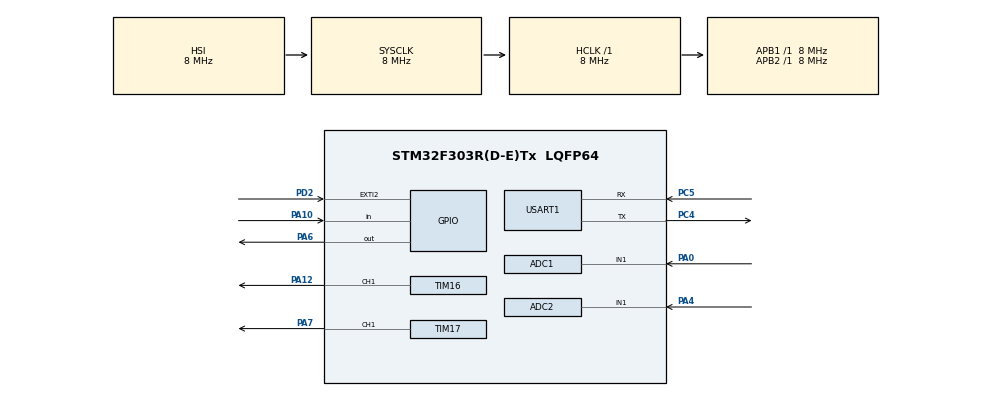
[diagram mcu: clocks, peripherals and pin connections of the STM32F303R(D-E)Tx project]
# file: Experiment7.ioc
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ADC1.Channel-0\#ChannelRegularConversion=ADC_CHANNEL_1
ADC1.ExternalTrigConv=ADC_EXTERNALTRIGCONV_T1_TRGO
ADC1.NbrOfConversionFlag=1
ADC1.Offset-0\#ChannelRegularConversion=0
ADC1.OffsetNumber-0\#ChannelRegularConversion=ADC_OFFSET_NONE
ADC1.Rank-0\#ChannelRegularConversion=1
ADC1.SamplingTime-0\#ChannelRegularConversion=ADC_SAMPLETIME_1CYCLE_5
ADC1.master=1
ADC2.Channel-0\#ChannelRegularConversion=ADC_CHANNEL_1
ADC2.ExternalTrigConv=ADC_EXTERNALTRIGCONV_T8_TRGO
ADC2.NbrOfConversionFlag=1
ADC2.Offset-0\#ChannelRegularConversion=0
ADC2.OffsetNumber-0\#ChannelRegularConversion=ADC_OFFSET_NONE
ADC2.Rank-0\#ChannelRegularConversion=1
ADC2.SamplingTime-0\#ChannelRegularConversion=ADC_SAMPLETIME_1CYCLE_5
Mcu.Family=STM32F3
Mcu.Name=STM32F303R(D-E)Tx
Mcu.Package=LQFP64
NVIC.ADC1_2_IRQn=true\:0\:0\:false\:false\:true\:true
NVIC.PriorityGroup=NVIC_PRIORITYGROUP_4
NVIC.USART1_IRQn=true\:0\:0\:false\:false\:true\:true
PA0.Mode=IN1-Single-Ended
PA0.Signal=ADC1_IN1
PA10.Signal=GPIO_Input
PA12.Signal=S_TIM16_CH1
PA4.Mode=IN1-Single-Ended
PA4.Signal=ADC2_IN1
PA6.Signal=GPIO_Output
PA7.Signal=S_TIM17_CH1
PC4.Mode=Asynchronous
PC4.Signal=USART1_TX
PC5.Mode=Asynchronous
PC5.Signal=USART1_RX
PD2.Signal=GPXTI2
PF0-OSC_IN.Mode=HSE-External-Oscillator
PF0-OSC_IN.Signal=RCC_OSC_IN
PF1-OSC_OUT.Mode=HSE-External-Oscillator
PF1-OSC_OUT.Signal=RCC_OSC_OUT
ProjectManager.HeapSize=0x200
ProjectManager.StackSize=0x400
ProjectManager.TargetToolchain=MDK-ARM V5
RCC.AHBFreq_Value=8000000
RCC.APB1Freq_Value=8000000
RCC.APB2Freq_Value=8000000
RCC.CortexFreq_Value=8000000
RCC.HSE_VALUE=8000000
RCC.HSI_VALUE=8000000
RCC.LSE_VALUE=32768
RCC.SYSCLKFreq_VALUE=8000000
RCC.USBFreq_Value=16000000
SH.S_TIM16_CH1.0=TIM16_CH1,PWM Generation1 CH1
SH.S_TIM17_CH1.0=TIM17_CH1,PWM Generation1 CH1
TIM1.Period=200
TIM1.Prescaler=79
TIM1.TIM_MasterOutputTrigger=TIM_TRGO_UPDATE
TIM16.Channel=TIM_CHANNEL_1
TIM16.Period=99
TIM16.Prescaler=1
TIM17.Channel=TIM_CHANNEL_1
TIM17.Period=99
TIM17.Prescaler=1
TIM8.Period=200
TIM8.Prescaler=79
TIM8.TIM_MasterOutputTrigger=TIM_TRGO_UPDATE
USART1.VirtualMode-Asynchronous=VM_ASYNC
VP_TIM16_VS_ClockSourceINT.Mode=Enable_Timer
VP_TIM17_VS_ClockSourceINT.Mode=Enable_Timer
VP_TIM1_VS_ClockSourceINT.Mode=Internal
VP_TIM8_VS_ClockSourceINT.Mode=Internal
board=custom

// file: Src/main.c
/* USER CODE BEGIN Header */
/**
  ******************************************************************************
  * @file           : main.c
  * @brief          : Main program body
  ******************************************************************************
  ** This notice applies to any and all portions of this file
  * that are not between comment pairs USER CODE BEGIN and
  * USER CODE END. Other portions of this file, whether
  * inserted by the user or by software development tools
  * are owned by their respective copyright owners.
  *
  * COPYRIGHT(c) 2019 STMicroelectronics
  *
  * Redistribution and use in source and binary forms, with or without modification,
  * are permitted provided that the following conditions are met:
  *   1. Redistributions of source code must retain the above copyright notice,
  *      this list of conditions and the following disclaimer.
  *   2. Redistributions in binary form must reproduce the above copyright notice,
  *      this list of conditions and the following disclaimer in the documentation
  *      and/or other materials provided with the distribution.
  *   3. Neither the name of STMicroelectronics nor the names of its contributors
  *      may be used to endorse or promote products derived from this software
  *      without specific prior written permission.
  *
  * THIS SOFTWARE IS PROVIDED BY THE COPYRIGHT HOLDERS AND CONTRIBUTORS "AS IS"
  * AND ANY EXPRESS OR IMPLIED WARRANTIES, INCLUDING, BUT NOT LIMITED TO, THE
  * IMPLIED WARRANTIES OF MERCHANTABILITY AND FITNESS FOR A PARTICULAR PURPOSE ARE
  * DISCLAIMED. IN NO EVENT SHALL THE COPYRIGHT HOLDER OR CONTRIBUTORS BE LIABLE
  * FOR ANY DIRECT, INDIRECT, INCIDENTAL, SPECIAL, EXEMPLARY, OR CONSEQUENTIAL
  * DAMAGES (INCLUDING, BUT NOT LIMITED TO, PROCUREMENT OF SUBSTITUTE GOODS OR
  * SERVICES; LOSS OF USE, DATA, OR PROFITS; OR BUSINESS INTERRUPTION) HOWEVER
  * CAUSED AND ON ANY THEORY OF LIABILITY, WHETHER IN CONTRACT, STRICT LIABILITY,
  * OR TORT (INCLUDING NEGLIGENCE OR OTHERWISE) ARISING IN ANY WAY OUT OF THE USE
  * OF THIS SOFTWARE, EVEN IF ADVISED OF THE POSSIBILITY OF SUCH DAMAGE.
  *
  ******************************************************************************
  */
/* USER CODE END Header */

#include "main.h"

ADC_HandleTypeDef hadc1;
ADC_HandleTypeDef hadc2;

TIM_HandleTypeDef htim1;
TIM_HandleTypeDef htim8;
TIM_HandleTypeDef htim16;
TIM_HandleTypeDef htim17;

UART_HandleTypeDef huart1;

void SystemClock_Config(void);
static void MX_GPIO_Init(void);
static void MX_TIM1_Init(void);
static void MX_ADC1_Init(void);
static void MX_ADC2_Init(void);
static void MX_TIM8_Init(void);
static void MX_TIM17_Init(void);
static void MX_USART1_UART_Init(void);
static void MX_TIM16_Init(void);

/* USER CODE BEGIN 0 */

uint32_t adc_output;
float volt;
float volt1;
double temp;
uint32_t adc_output1;
uint32_t period ;

double  dutycycle = 0.5;
double dutycycle1 = 0.5;

int v1;
int v2;

double f1;
double f2;

char rx_buffer[10];
char tx_buffer[50];

void decrease_tmp()
{
	if (dutycycle==0)
		return;
	else
	{
		dutycycle = dutycycle - 0.1;
	}
}

void increase_tmp()
{
	if (dutycycle==1)
		return;
	else
	{
		dutycycle = dutycycle + 0.1;
	}
}

/*void HAL_UART_RxCpltCallback(UART_HandleTypeDef *huart)
{
	if (huart->Instance == USART1)
	{
	 HAL_UART_Receive(&huart1,(uint8_t*)rx_buffer,10,100);
	 printf("%c",rx_buffer[0]);
	}
}*/

void HAL_ADC_ConvCpltCallback(ADC_HandleTypeDef* hadc)
 {
	 if(hadc->Instance == ADC1)
		 {
		 HAL_ADC_PollForConversion(&hadc1,100);
		 adc_output=HAL_ADC_GetValue(&hadc1);
		 volt = (adc_output*5)*0.00244;
		 v1 = (int) adc_output/7;
		 //strcat(tx_buffer,str_inten);
		 }
}

 void HAL_ADC_ConvCpltCallback1(ADC_HandleTypeDef* hadc)
 {
	  if(hadc->Instance == ADC2)
		 {
     HAL_ADC_PollForConversion(&hadc2,100);
		 adc_output1=HAL_ADC_GetValue(&hadc2);
		 temp = (adc_output1*5)*0.0244;
		 v2 = (int)temp;
	   HAL_UART_Transmit(&huart1,(uint8_t*)tx_buffer,sprintf(tx_buffer,"temperature\r"),500);
		 HAL_UART_Transmit(&huart1,(uint8_t*)tx_buffer,sprintf(tx_buffer,"%d",v2),500); //sending temperature
		 HAL_UART_Transmit(&huart1,(uint8_t*)tx_buffer,sprintf(tx_buffer,"\n\r"),500); //sending temperature
		 HAL_UART_Transmit(&huart1,(uint8_t*)tx_buffer,sprintf(tx_buffer,"brightness\r"),500);
		 HAL_UART_Transmit(&huart1,(uint8_t*)tx_buffer,sprintf(tx_buffer,"%d",v1),500); //sending voltage
		 HAL_UART_Transmit(&huart1,(uint8_t*)tx_buffer,sprintf(tx_buffer,"\n\r"),500);
		 //period = htim17.Init.Prescaler;
		 //TIM17->CCR1 = dutycycle*(period);
		 }
 }

/* USER CODE END 0 */

int main(void)
{

  /* MCU Configuration--------------------------------------------------------*/

  /* Reset of all peripherals, Initializes the Flash interface and the Systick. */
  HAL_Init();

  /* Configure the system clock */
  SystemClock_Config();

  /* Initialize all configured peripherals */
  MX_GPIO_Init();
  MX_TIM1_Init();
  MX_ADC1_Init();
  MX_ADC2_Init();
  MX_TIM8_Init();
  MX_TIM17_Init();
  MX_USART1_UART_Init();
  MX_TIM16_Init();

  /* Infinite loop */
  /* USER CODE BEGIN WHILE */
 	HAL_TIM_PWM_Start(&htim17,TIM_CHANNEL_1);
	HAL_TIM_PWM_Start(&htim16,TIM_CHANNEL_1);
	HAL_TIM_Base_Start_IT(&htim8);
	HAL_ADC_Start_IT(&hadc2);
	HAL_TIM_Base_Start(&htim1);
	HAL_ADC_Start_IT(&hadc1);
	__HAL_UART_ENABLE_IT(&huart1,UART_IT_TC);
  /* USER CODE BEGIN 2 */

  /* USER CODE END 2 */

  /* Infinite loop */
  /* USER CODE BEGIN WHILE */
  while (1)
  {
    /* USER CODE END WHILE */
	 HAL_ADC_ConvCpltCallback1(&hadc2);
	 HAL_ADC_ConvCpltCallback(&hadc1);

	 dutycycle = 1-((50-v2)*0.0333);
	 if (dutycycle>1)
		 dutycycle = 0.9;
   dutycycle1 = (100-v1)*0.01;

	 period = htim17.Init.Period+1;
	 TIM17->CCR1 = dutycycle*(period);

	if (dutycycle1<0)
		dutycycle1 = 0.1;

	 period = htim16.Init.Period+1;
	 TIM16->CCR1 = dutycycle1*(period);

	//HAL_UART_RxCpltCallback(&huart1);

	if (HAL_GPIO_ReadPin(GPIOA, GPIO_PIN_10)) // if the pin is HIGH , pir
  {
	 HAL_UART_Transmit(&huart1,(uint8_t*)"Person-Detected!\n\r",sprintf(tx_buffer,"Person-detected\r"),500);
   HAL_GPIO_WritePin (GPIOA, GPIO_PIN_6, 1); // turn on LED
	 HAL_Delay(500);
   HAL_GPIO_WritePin (GPIOA, GPIO_PIN_6, 0); // LED OFF
   //while (HAL_GPIO_ReadPin(GPIOA, GPIO_PIN_10)); //wait for pin to go low
  }
  /* USER CODE END 3 */
	//HAL_UART_Receive(&huart1,(uint8_t*)rx_buffer,10,100);
	//HAL_UART_Receive_IT(&huart1,(uint8_t*)rx_buffer,10);
	//HAL_Delay(400);

	if (HAL_UART_Receive(&huart1,(uint8_t*)rx_buffer,10,100) == HAL_OK)
	{
		 printf("%c",rx_buffer[0]);
		if (rx_buffer[0] == 'u')
		{
			increase_tmp();
		}
		else if (rx_buffer[0] == 'd')
		{
		  decrease_tmp();
		}

 }
}
	}

void SystemClock_Config(void)
{
  RCC_OscInitTypeDef RCC_OscInitStruct = {0};
  RCC_ClkInitTypeDef RCC_ClkInitStruct = {0};
  RCC_PeriphCLKInitTypeDef PeriphClkInit = {0};

  /**Initializes the CPU, AHB and APB busses clocks
  */
  RCC_OscInitStruct.OscillatorType = RCC_OSCILLATORTYPE_HSI;
  RCC_OscInitStruct.HSIState = RCC_HSI_ON;
  RCC_OscInitStruct.HSICalibrationValue = RCC_HSICALIBRATION_DEFAULT;
  RCC_OscInitStruct.PLL.PLLState = RCC_PLL_ON;
  RCC_OscInitStruct.PLL.PLLSource = RCC_PLLSOURCE_HSI;
  RCC_OscInitStruct.PLL.PLLMUL = RCC_PLL_MUL2;
  RCC_OscInitStruct.PLL.PREDIV = RCC_PREDIV_DIV1;
  if (HAL_RCC_OscConfig(&RCC_OscInitStruct) != HAL_OK)
  {
    Error_Handler();
  }
  /**Initializes the CPU, AHB and APB busses clocks
  */
  RCC_ClkInitStruct.ClockType = RCC_CLOCKTYPE_HCLK|RCC_CLOCKTYPE_SYSCLK
                              |RCC_CLOCKTYPE_PCLK1|RCC_CLOCKTYPE_PCLK2;
  RCC_ClkInitStruct.SYSCLKSource = RCC_SYSCLKSOURCE_HSI;
  RCC_ClkInitStruct.AHBCLKDivider = RCC_SYSCLK_DIV1;
  RCC_ClkInitStruct.APB1CLKDivider = RCC_HCLK_DIV1;
  RCC_ClkInitStruct.APB2CLKDivider = RCC_HCLK_DIV1;

  if (HAL_RCC_ClockConfig(&RCC_ClkInitStruct, FLASH_LATENCY_0) != HAL_OK)
  {
    Error_Handler();
  }
  PeriphClkInit.PeriphClockSelection = RCC_PERIPHCLK_USART1|RCC_PERIPHCLK_TIM1
                              |RCC_PERIPHCLK_TIM16|RCC_PERIPHCLK_TIM17
                              |RCC_PERIPHCLK_TIM8|RCC_PERIPHCLK_ADC12;
  PeriphClkInit.Usart1ClockSelection = RCC_USART1CLKSOURCE_PCLK2;
  PeriphClkInit.Adc12ClockSelection = RCC_ADC12PLLCLK_DIV1;
  PeriphClkInit.Tim1ClockSelection = RCC_TIM1CLK_HCLK;
  PeriphClkInit.Tim16ClockSelection = RCC_TIM16CLK_HCLK;
  PeriphClkInit.Tim17ClockSelection = RCC_TIM17CLK_HCLK;
  PeriphClkInit.Tim8ClockSelection = RCC_TIM8CLK_HCLK;
  if (HAL_RCCEx_PeriphCLKConfig(&PeriphClkInit) != HAL_OK)
  {
    Error_Handler();
  }
}

static void MX_ADC1_Init(void)
{

  ADC_MultiModeTypeDef multimode = {0};
  ADC_ChannelConfTypeDef sConfig = {0};

  /**Common config
  */
  hadc1.Instance = ADC1;
  hadc1.Init.ClockPrescaler = ADC_CLOCK_ASYNC_DIV1;
  hadc1.Init.Resolution = ADC_RESOLUTION_12B;
  hadc1.Init.ScanConvMode = ADC_SCAN_DISABLE;
  hadc1.Init.ContinuousConvMode = DISABLE;
  hadc1.Init.DiscontinuousConvMode = DISABLE;
  hadc1.Init.ExternalTrigConvEdge = ADC_EXTERNALTRIGCONVEDGE_RISING;
  hadc1.Init.ExternalTrigConv = ADC_EXTERNALTRIGCONV_T1_TRGO;
  hadc1.Init.DataAlign = ADC_DATAALIGN_RIGHT;
  hadc1.Init.NbrOfConversion = 1;
  hadc1.Init.DMAContinuousRequests = DISABLE;
  hadc1.Init.EOCSelection = ADC_EOC_SINGLE_CONV;
  hadc1.Init.LowPowerAutoWait = DISABLE;
  hadc1.Init.Overrun = ADC_OVR_DATA_OVERWRITTEN;
  if (HAL_ADC_Init(&hadc1) != HAL_OK)
  {
    Error_Handler();
  }
  /**Configure the ADC multi-mode
  */
  multimode.Mode = ADC_MODE_INDEPENDENT;
  if (HAL_ADCEx_MultiModeConfigChannel(&hadc1, &multimode) != HAL_OK)
  {
    Error_Handler();
  }
  /**Configure Regular Channel
  */
  sConfig.Channel = ADC_CHANNEL_1;
  sConfig.Rank = ADC_REGULAR_RANK_1;
  sConfig.SingleDiff = ADC_SINGLE_ENDED;
  sConfig.SamplingTime = ADC_SAMPLETIME_1CYCLE_5;
  sConfig.OffsetNumber = ADC_OFFSET_NONE;
  sConfig.Offset = 0;
  if (HAL_ADC_ConfigChannel(&hadc1, &sConfig) != HAL_OK)
  {
    Error_Handler();
  }

}

static void MX_ADC2_Init(void)
{

  ADC_ChannelConfTypeDef sConfig = {0};

  /**Common config
  */
  hadc2.Instance = ADC2;
  hadc2.Init.ClockPrescaler = ADC_CLOCK_ASYNC_DIV1;
  hadc2.Init.Resolution = ADC_RESOLUTION_12B;
  hadc2.Init.ScanConvMode = ADC_SCAN_DISABLE;
  hadc2.Init.ContinuousConvMode = DISABLE;
  hadc2.Init.DiscontinuousConvMode = DISABLE;
  hadc2.Init.ExternalTrigConvEdge = ADC_EXTERNALTRIGCONVEDGE_RISING;
  hadc2.Init.ExternalTrigConv = ADC_EXTERNALTRIGCONV_T8_TRGO;
  hadc2.Init.DataAlign = ADC_DATAALIGN_RIGHT;
  hadc2.Init.NbrOfConversion = 1;
  hadc2.Init.DMAContinuousRequests = DISABLE;
  hadc2.Init.EOCSelection = ADC_EOC_SINGLE_CONV;
  hadc2.Init.LowPowerAutoWait = DISABLE;
  hadc2.Init.Overrun = ADC_OVR_DATA_OVERWRITTEN;
  if (HAL_ADC_Init(&hadc2) != HAL_OK)
  {
    Error_Handler();
  }
  /**Configure Regular Channel
  */
  sConfig.Channel = ADC_CHANNEL_1;
  sConfig.Rank = ADC_REGULAR_RANK_1;
  sConfig.SingleDiff = ADC_SINGLE_ENDED;
  sConfig.SamplingTime = ADC_SAMPLETIME_1CYCLE_5;
  sConfig.OffsetNumber = ADC_OFFSET_NONE;
  sConfig.Offset = 0;
  if (HAL_ADC_ConfigChannel(&hadc2, &sConfig) != HAL_OK)
  {
    Error_Handler();
  }

}

static void MX_TIM1_Init(void)
{

  TIM_ClockConfigTypeDef sClockSourceConfig = {0};
  TIM_MasterConfigTypeDef sMasterConfig = {0};

  htim1.Instance = TIM1;
  htim1.Init.Prescaler = 79;
  htim1.Init.CounterMode = TIM_COUNTERMODE_UP;
  htim1.Init.Period = 79;
  htim1.Init.ClockDivision = TIM_CLOCKDIVISION_DIV1;
  htim1.Init.RepetitionCounter = 0;
  htim1.Init.AutoReloadPreload = TIM_AUTORELOAD_PRELOAD_DISABLE;
  if (HAL_TIM_Base_Init(&htim1) != HAL_OK)
  {
    Error_Handler();
  }
  sClockSourceConfig.ClockSource = TIM_CLOCKSOURCE_INTERNAL;
  if (HAL_TIM_ConfigClockSource(&htim1, &sClockSourceConfig) != HAL_OK)
  {
    Error_Handler();
  }
  sMasterConfig.MasterOutputTrigger = TIM_TRGO_UPDATE;
  sMasterConfig.MasterOutputTrigger2 = TIM_TRGO2_RESET;
  sMasterConfig.MasterSlaveMode = TIM_MASTERSLAVEMODE_DISABLE;
  if (HAL_TIMEx_MasterConfigSynchronization(&htim1, &sMasterConfig) != HAL_OK)
  {
    Error_Handler();
  }

}

static void MX_TIM8_Init(void)
{

  TIM_ClockConfigTypeDef sClockSourceConfig = {0};
  TIM_MasterConfigTypeDef sMasterConfig = {0};

  htim8.Instance = TIM8;
  htim8.Init.Prescaler = 79;
  htim8.Init.CounterMode = TIM_COUNTERMODE_UP;
  htim8.Init.Period = 79;
  htim8.Init.ClockDivision = TIM_CLOCKDIVISION_DIV1;
  htim8.Init.RepetitionCounter = 0;
  htim8.Init.AutoReloadPreload = TIM_AUTORELOAD_PRELOAD_DISABLE;
  if (HAL_TIM_Base_Init(&htim8) != HAL_OK)
  {
    Error_Handler();
  }
  sClockSourceConfig.ClockSource = TIM_CLOCKSOURCE_INTERNAL;
  if (HAL_TIM_ConfigClockSource(&htim8, &sClockSourceConfig) != HAL_OK)
  {
    Error_Handler();
  }
  sMasterConfig.MasterOutputTrigger = TIM_TRGO_UPDATE;
  sMasterConfig.MasterOutputTrigger2 = TIM_TRGO2_RESET;
  sMasterConfig.MasterSlaveMode = TIM_MASTERSLAVEMODE_DISABLE;
  if (HAL_TIMEx_MasterConfigSynchronization(&htim8, &sMasterConfig) != HAL_OK)
  {
    Error_Handler();
  }

}

static void MX_TIM16_Init(void)
{

  TIM_OC_InitTypeDef sConfigOC = {0};
  TIM_BreakDeadTimeConfigTypeDef sBreakDeadTimeConfig = {0};

  htim16.Instance = TIM16;
  htim16.Init.Prescaler = 79;
  htim16.Init.CounterMode = TIM_COUNTERMODE_UP;
  htim16.Init.Period = 79;
  htim16.Init.ClockDivision = TIM_CLOCKDIVISION_DIV1;
  htim16.Init.RepetitionCounter = 0;
  htim16.Init.AutoReloadPreload = TIM_AUTORELOAD_PRELOAD_DISABLE;
  if (HAL_TIM_Base_Init(&htim16) != HAL_OK)
  {
    Error_Handler();
  }
  if (HAL_TIM_PWM_Init(&htim16) != HAL_OK)
  {
    Error_Handler();
  }
  sConfigOC.OCMode = TIM_OCMODE_PWM1;
  sConfigOC.Pulse = 0;
  sConfigOC.OCPolarity = TIM_OCPOLARITY_HIGH;
  sConfigOC.OCNPolarity = TIM_OCNPOLARITY_HIGH;
  sConfigOC.OCFastMode = TIM_OCFAST_DISABLE;
  sConfigOC.OCIdleState = TIM_OCIDLESTATE_RESET;
  sConfigOC.OCNIdleState = TIM_OCNIDLESTATE_RESET;
  if (HAL_TIM_PWM_ConfigChannel(&htim16, &sConfigOC, TIM_CHANNEL_1) != HAL_OK)
  {
    Error_Handler();
  }
  sBreakDeadTimeConfig.OffStateRunMode = TIM_OSSR_DISABLE;
  sBreakDeadTimeConfig.OffStateIDLEMode = TIM_OSSI_DISABLE;
  sBreakDeadTimeConfig.LockLevel = TIM_LOCKLEVEL_OFF;
  sBreakDeadTimeConfig.DeadTime = 0;
  sBreakDeadTimeConfig.BreakState = TIM_BREAK_DISABLE;
  sBreakDeadTimeConfig.BreakPolarity = TIM_BREAKPOLARITY_HIGH;
  sBreakDeadTimeConfig.BreakFilter = 0;
  sBreakDeadTimeConfig.AutomaticOutput = TIM_AUTOMATICOUTPUT_DISABLE;
  if (HAL_TIMEx_ConfigBreakDeadTime(&htim16, &sBreakDeadTimeConfig) != HAL_OK)
  {
    Error_Handler();
  }
  HAL_TIM_MspPostInit(&htim16);

}

static void MX_TIM17_Init(void)
{

  TIM_OC_InitTypeDef sConfigOC = {0};
  TIM_BreakDeadTimeConfigTypeDef sBreakDeadTimeConfig = {0};

  htim17.Instance = TIM17;
  htim17.Init.Prescaler = 79;
  htim17.Init.CounterMode = TIM_COUNTERMODE_UP;
  htim17.Init.Period = 79;
  htim17.Init.ClockDivision = TIM_CLOCKDIVISION_DIV1;
  htim17.Init.RepetitionCounter = 0;
  htim17.Init.AutoReloadPreload = TIM_AUTORELOAD_PRELOAD_DISABLE;
  if (HAL_TIM_Base_Init(&htim17) != HAL_OK)
  {
    Error_Handler();
  }
  if (HAL_TIM_PWM_Init(&htim17) != HAL_OK)
  {
    Error_Handler();
  }
  sConfigOC.OCMode = TIM_OCMODE_PWM1;
  sConfigOC.Pulse = 0;
  sConfigOC.OCPolarity = TIM_OCPOLARITY_HIGH;
  sConfigOC.OCNPolarity = TIM_OCNPOLARITY_HIGH;
  sConfigOC.OCFastMode = TIM_OCFAST_DISABLE;
  sConfigOC.OCIdleState = TIM_OCIDLESTATE_RESET;
  sConfigOC.OCNIdleState = TIM_OCNIDLESTATE_RESET;
  if (HAL_TIM_PWM_ConfigChannel(&htim17, &sConfigOC, TIM_CHANNEL_1) != HAL_OK)
  {
    Error_Handler();
  }
  sBreakDeadTimeConfig.OffStateRunMode = TIM_OSSR_DISABLE;
  sBreakDeadTimeConfig.OffStateIDLEMode = TIM_OSSI_DISABLE;
  sBreakDeadTimeConfig.LockLevel = TIM_LOCKLEVEL_OFF;
  sBreakDeadTimeConfig.DeadTime = 0;
  sBreakDeadTimeConfig.BreakState = TIM_BREAK_DISABLE;
  sBreakDeadTimeConfig.BreakPolarity = TIM_BREAKPOLARITY_HIGH;
  sBreakDeadTimeConfig.BreakFilter = 0;
  sBreakDeadTimeConfig.AutomaticOutput = TIM_AUTOMATICOUTPUT_DISABLE;
  if (HAL_TIMEx_ConfigBreakDeadTime(&htim17, &sBreakDeadTimeConfig) != HAL_OK)
  {
    Error_Handler();
  }
  HAL_TIM_MspPostInit(&htim17);

}

static void MX_USART1_UART_Init(void)
{

  huart1.Instance = USART1;
  huart1.Init.BaudRate = 38400;
  huart1.Init.WordLength = UART_WORDLENGTH_8B;
  huart1.Init.StopBits = UART_STOPBITS_1;
  huart1.Init.Parity = UART_PARITY_NONE;
  huart1.Init.Mode = UART_MODE_TX_RX;
  huart1.Init.HwFlowCtl = UART_HWCONTROL_NONE;
  huart1.Init.OverSampling = UART_OVERSAMPLING_16;
  huart1.Init.OneBitSampling = UART_ONE_BIT_SAMPLE_DISABLE;
  huart1.AdvancedInit.AdvFeatureInit = UART_ADVFEATURE_NO_INIT;
  if (HAL_UART_Init(&huart1) != HAL_OK)
  {
    Error_Handler();
  }

}

static void MX_GPIO_Init(void)
{
  GPIO_InitTypeDef GPIO_InitStruct = {0};

  /* GPIO Ports Clock Enable */
  __HAL_RCC_GPIOF_CLK_ENABLE();
  __HAL_RCC_GPIOA_CLK_ENABLE();
  __HAL_RCC_GPIOC_CLK_ENABLE();
  __HAL_RCC_GPIOD_CLK_ENABLE();

  /*Configure GPIO pin Output Level */
  HAL_GPIO_WritePin(GPIOA, GPIO_PIN_6, GPIO_PIN_RESET);

  /*Configure GPIO pin : PA6 */
  GPIO_InitStruct.Pin = GPIO_PIN_6;
  GPIO_InitStruct.Mode = GPIO_MODE_OUTPUT_PP;
  GPIO_InitStruct.Pull = GPIO_NOPULL;
  GPIO_InitStruct.Speed = GPIO_SPEED_FREQ_LOW;
  HAL_GPIO_Init(GPIOA, &GPIO_InitStruct);

  /*Configure GPIO pin : PA10 */
  GPIO_InitStruct.Pin = GPIO_PIN_10;
  GPIO_InitStruct.Mode = GPIO_MODE_INPUT;
  GPIO_InitStruct.Pull = GPIO_NOPULL;
  HAL_GPIO_Init(GPIOA, &GPIO_InitStruct);

  /*Configure GPIO pin : PD2 */
  GPIO_InitStruct.Pin = GPIO_PIN_2;
  GPIO_InitStruct.Mode = GPIO_MODE_IT_RISING;
  GPIO_InitStruct.Pull = GPIO_NOPULL;
  HAL_GPIO_Init(GPIOD, &GPIO_InitStruct);

}

void Error_Handler(void)
{
}

/************************ (C) COPYRIGHT STMicroelectronics *****END OF FILE****/
